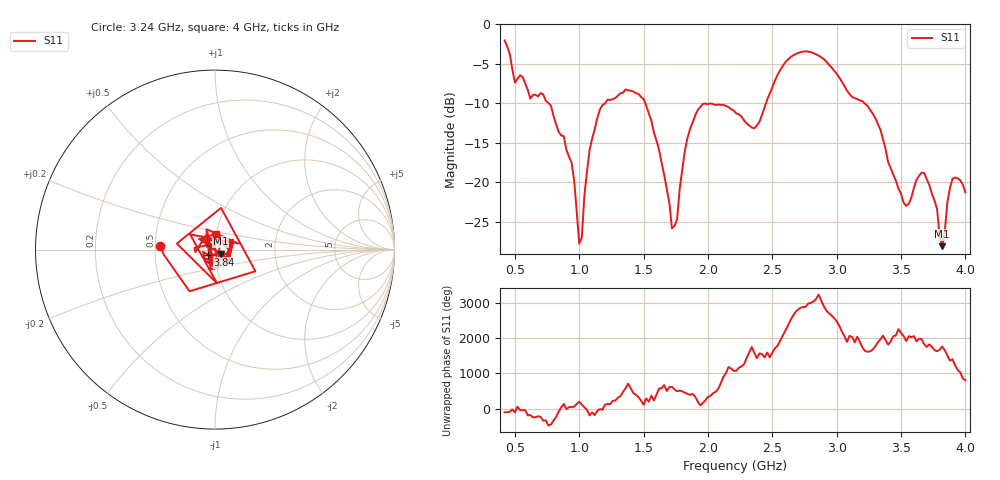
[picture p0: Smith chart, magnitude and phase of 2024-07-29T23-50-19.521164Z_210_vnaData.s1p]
!Created with skrf (http://scikit-rf.org).
# Hz S RI R 50.0
!freq ReS11 ImS11
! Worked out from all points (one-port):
!   180 points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, 420 MHz to 4 GHz, reference 50 ohm
!   lowest |S11| = -28.0 dB at 3.82 GHz (marker M1), VSWR 1.08, Z = 53.4 - j2.33 ohm
!   |S11| at or under -10 dB: 762.4 MHz to 1.201 GHz (438.9 MHz wide, 44.7 % of centre); 1.513 GHz to 2.45 GHz (937.1 MHz wide, 47.3 % of centre); 3.217 GHz to end of sweep
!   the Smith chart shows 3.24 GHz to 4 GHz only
!   S11 on the Smith chart (normalised r, x): 3.24 GHz: 0.53, +0.02; 3.84 GHz: 0.92, -0.06; 4 GHz: 1.00, +0.17
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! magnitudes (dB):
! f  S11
! 420 MHz  -2.1
! 500 MHz  -7.4
! 720 MHz  -8.9
! 880 MHz  -14.2
! 960 MHz  -19.7
! 1 GHz  -27.7
! 1.08 GHz  -15.9
! 1.14 GHz  -11.9
! 1.32 GHz  -8.7
! 1.52 GHz  -10.3
! 1.62 GHz  -15.9
! 1.72 GHz  -25.8
! 1.76 GHz  -24.7
! 1.78 GHz  -20.9
! 1.84 GHz  -14.4
! 1.92 GHz  -10.9
! 2.22 GHz  -11.3
! 2.36 GHz  -13.2
! 2.66 GHz  -4.0
! 2.88 GHz  -4.2
! 3.12 GHz  -9.2
! 3.24 GHz  -10.3
! 3.56 GHz  -22.7
! 3.68 GHz  -18.8
! 3.82 GHz  -28.0
! 3.84 GHz  -26.2
! 3.9 GHz  -19.5
! 4 GHz  -21.3
